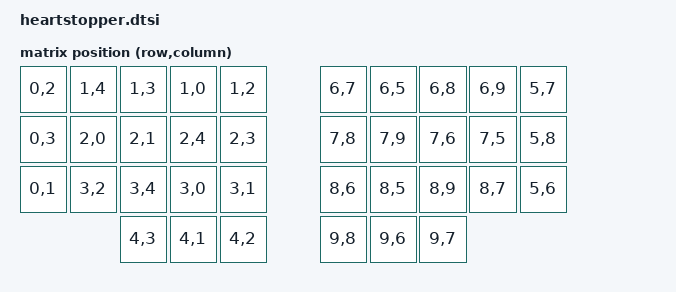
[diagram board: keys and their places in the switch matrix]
#include <rpi_pico/rp2040.dtsi>
#include <zephyr/dt-bindings/pinctrl/rpi-pico-rp2040-pinctrl.h>
#include <dt-bindings/zmk/matrix_transform.h>

&gpio0 {
    status = "okay";
};

/ {
    chosen {
        zmk,kscan = &kscan0;
        zmk,matrix-transform = &default_transform;
        zmk,split-uart = &pio0_uart0;
    };

    default_transform: keymap_transform_0 {
        compatible = "zmk,matrix-transform";
        columns = <10>;
        rows = <4>;

        // Right shield switch layout
        // 05  01  13  11  04    (2, 3) (2, 1) (2, 4) (2, 5) (1, 3) 
        // 16  18  06  03  10    (3, 4) (3, 5) (3, 2) (3, 1) (1, 4) 
        // 14  09  08  15  02    (4, 2) (4, 1) (4, 5) (4, 3) (1, 2) 
        // 07  12  17            (5, 4) (5, 2) (5, 3)                   


        // Left shield switch layout
        // 04  11  13  01  05    (1, 3) (2, 5) (2, 4) (2, 1) (2, 3)
        // 10  03  06  18  16    (1, 4) (3, 1) (3, 2) (3, 5) (3, 4)
        // 02  15  08  09  14    (1, 2) (4, 3) (4, 5) (4, 1) (4, 2)
        //         17  12  07                  (5, 4) (5, 2) (5, 3)

        map = <
RC(0, 2) RC(1, 4) RC(1, 3) RC(1, 0) RC(1, 2)    RC(6, 7) RC(6, 5) RC(6, 8) RC(6, 9) RC(5, 7)
RC(0, 3) RC(2, 0) RC(2, 1) RC(2, 4) RC(2, 3)    RC(7, 8) RC(7, 9) RC(7, 6) RC(7, 5) RC(5, 8)
RC(0, 1) RC(3, 2) RC(3, 4) RC(3, 0) RC(3, 1)    RC(8, 6) RC(8, 5) RC(8, 9) RC(8, 7) RC(5, 6)
                  RC(4, 3) RC(4, 1) RC(4, 2)    RC(9, 8) RC(9, 6) RC(9, 7)
        >;
    };

    kscan0: kscan {
        compatible = "zmk,kscan-gpio-charlieplex";

        interrupt-gpios = <&gpio0 20 (GPIO_ACTIVE_HIGH | GPIO_PULL_DOWN)>;
        gpios
            = <&gpio0 2 GPIO_ACTIVE_HIGH>
            , <&gpio0 3 GPIO_ACTIVE_HIGH>
            , <&gpio0 4 GPIO_ACTIVE_HIGH>
            , <&gpio0 5 GPIO_ACTIVE_HIGH>
            , <&gpio0 6 GPIO_ACTIVE_HIGH>;
    };
};

&pio0 {
    status = "okay";

    pio0_uart0: serial {
        status = "okay";
        compatible = "raspberrypi,pico-uart-pio";
        pinctrl-0 = <&pio0_uart0_default>;
        pinctrl-names = "default";
        current-speed = <115200>;
    };
};
